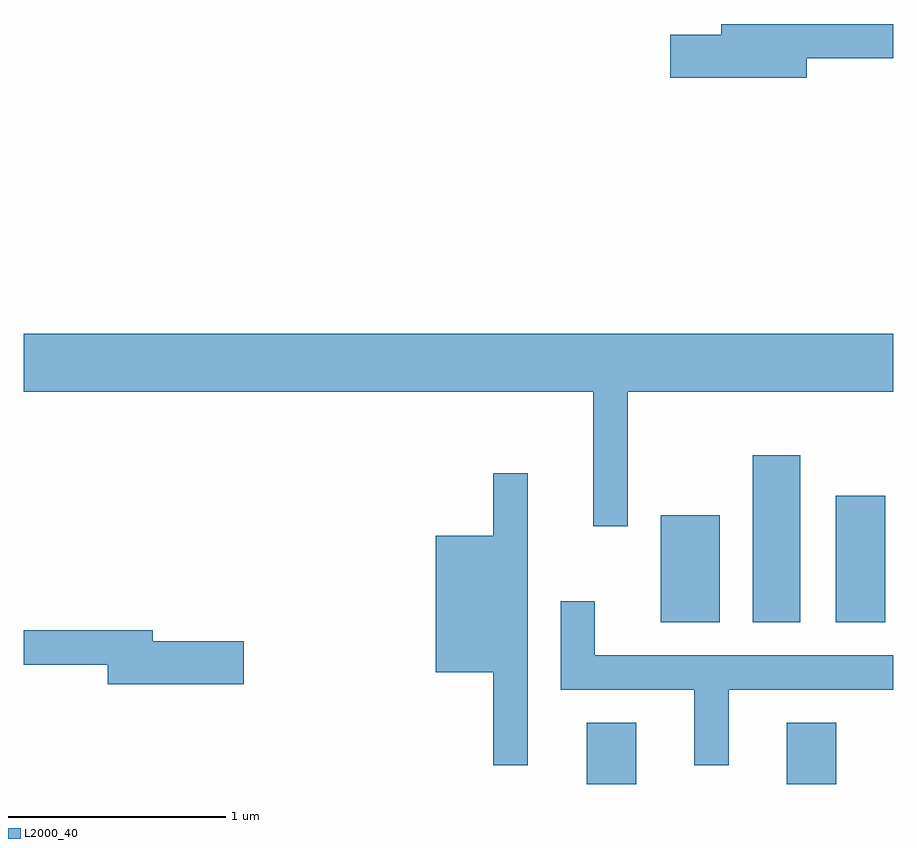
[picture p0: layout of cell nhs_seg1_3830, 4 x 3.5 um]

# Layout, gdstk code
import gdstk
lib = gdstk.Library(unit=1e-6, precision=1e-09)
def R(c, l, rs):  # rectangles x0, y0, x1, y1
    for r in rs: c.add(gdstk.rectangle(r[:2], r[2:], *l))
def P(c, l, *ps):  # polygons
    for p in ps: c.add(gdstk.Polygon(p, *l))
L2000_40 = (2000, 40)

nhs_seg1_3830 = lib.new_cell('nhs_seg1_3830')
R(nhs_seg1_3830, L2000_40, [(302.201,957.712,302.429,957.994), (303.121,957.712,303.349,957.994), (302.541,958.456,302.814,958.949), (302.966,958.456,303.184,959.224), (303.346,958.456,303.574,959.039)])
P(nhs_seg1_3830, L2000_40, [(303.214,961.051),(303.611,961.051),(303.611,961.209),(302.821,961.209),(302.821,961.159),(302.586,961.159),(302.586,960.961),(303.214,960.961)],
  [(302.389,959.516),(303.611,959.516),(303.611,959.784),(299.611,959.784),(299.611,959.516),(302.231,959.516),(302.231,958.898),(302.389,958.898)],
  [(301.929,959.143),(301.771,959.143),(301.771,958.854),(301.506,958.854),(301.506,958.226),(301.771,958.226),(301.771,957.798),(301.929,957.798)],
  [(302.854,958.146),(303.611,958.146),(303.611,958.304),(302.239,958.304),(302.239,958.553),(302.081,958.553),(302.081,958.146),(302.696,958.146),(302.696,957.798),(302.854,957.798)],
  [(300.624,958.369),(300.204,958.369),(300.204,958.419),(299.611,958.419),(299.611,958.261),(299.996,958.261),(299.996,958.171),(300.624,958.171)])

lib.write_gds('nhs_seg1_3830.gds')
